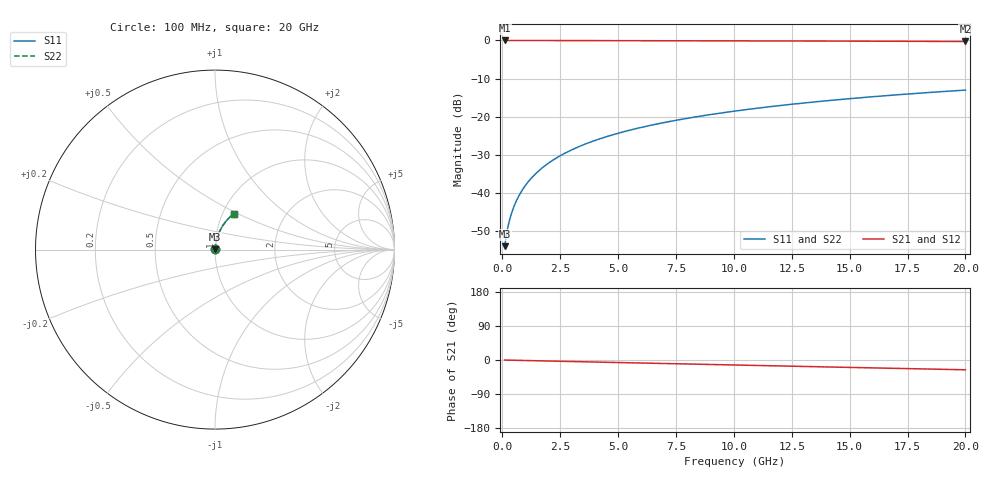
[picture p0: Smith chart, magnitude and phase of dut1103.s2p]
! Touchstone file exported from HFSS 2026.1.0
!  File:  C:/ffzhzh/LocalFiles/Ansys_Project_Files/temp_train_TMRDL_1103_1783161284_18472.aedt
!  Generated:  06:36:03 PM Jul  4, 2026
!  Design:  TMRDL
!  Project:  temp_train_TMRDL_1103_1783161284_18472
! Variables:
!  h_bsmrdl = 2um
!  h_ox = 20um
!  h_rdl = 5um
!  h_sub = 80um
!  h_tmrdl = 3.9um
!  h_tsv = 80um
!  h_via = 3um
!  l_bsmrdl = 300um
!  l_sub = 764.05um
!  l_tmrdl = 364.05um
!  m_sub = 200um
!  pitch = 49.13um
!  r_tsv = 6um
!  s_tmrdl = 10um
!  w_bsmrdl = 18um
!  w_sub = 500um
!  w_tmrdl = 26.27um
!  x_tsv_center1 = 377.185um
!  x_tsv_center2 = 695.185um
!  x_tsv_center3 = 1085.505um
!  x_tsv_center4 = 1403.505um
!  x_tsv_center5 = 1793.825um
!  x_tsv_center6 = 2111.825um
# GHz S MA R 50.000000
! Terminal data exported
! Port[1] = TM_RDL1_1_T1
! Port[2] = TM_RDL1_1_T2
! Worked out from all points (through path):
!   200 points, 100 MHz to 20 GHz, reference 50 ohm
!   highest |S21| = -0.01 dB at 100 MHz (marker M1); lowest = -0.3 dB at 20 GHz (marker M2)
!   group delay of S21, straight-line fit = 3.58 ps
!   lowest |S11| = -53.8 dB at 100 MHz (marker M3), VSWR 1.00, Z = 50.1 + j0.139 ohm
!   |S11| at or under -10 dB: start of sweep to end of sweep
!   |S22| runs from -53.8 to -13.0 dB; largest |S21 - S12| = 4.2e-15
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0.1  0.002032 42.9  0.9985 -0.1  0.9985 -0.1  0.002032 42.9
! Gamma 0 0 0 0
! Port Impedance 50 0 50 0
0.2  0.003139 59.3  0.9984 -0.3  0.9984 -0.3  0.003138 59.3
0.3  0.004312 66.6  0.9983 -0.4  0.9983 -0.4  0.004312 66.5
0.4  0.00549 70.7  0.9982 -0.6  0.9982 -0.6  0.00549 70.7
0.5  0.006671 73.5  0.9982 -0.7  0.9982 -0.7  0.006671 73.5
0.6  0.007858 75.5  0.9981 -0.8  0.9981 -0.8  0.007858 75.5
0.8  0.01025 78.1  0.998 -1.1  0.998 -1.1  0.01025 78.1
1.1  0.01388 80.3  0.9979 -1.5  0.9979 -1.5  0.01388 80.3
1.5  0.01875 81.6  0.9978 -2.0  0.9978 -2.0  0.01875 81.6
1.8  0.02241 82.1  0.9976 -2.4  0.9976 -2.4  0.02241 82.1
2.1  0.02607 82.3  0.9974 -2.8  0.9974 -2.8  0.02607 82.3
2.7  0.03337 82.2  0.9971 -3.6  0.9971 -3.6  0.03337 82.2
3.5  0.04304 81.7  0.9964 -4.7  0.9964 -4.7  0.04304 81.7
4.2  0.05144 81.1  0.9957 -5.6  0.9957 -5.6  0.05144 81.1
5  0.06095 80.3  0.9949 -6.7  0.9949 -6.7  0.06095 80.3
5.9  0.07154 79.2  0.9938 -7.9  0.9938 -7.9  0.07154 79.3
6.8  0.08202 78.2  0.9927 -9.0  0.9927 -9.0  0.08202 78.2
8.3  0.09925 76.4  0.9906 -11.0  0.9906 -11.0  0.09925 76.4
10.1  0.1196 74.3  0.9878 -13.3  0.9878 -13.3  0.1196 74.3
13.4  0.1558 70.3  0.982 -17.5  0.982 -17.5  0.1558 70.3
16.7  0.1906 66.3  0.9752 -21.7  0.9752 -21.7  0.1906 66.4
20  0.2239 62.4  0.9677 -25.8  0.9677 -25.8  0.2239 62.4
